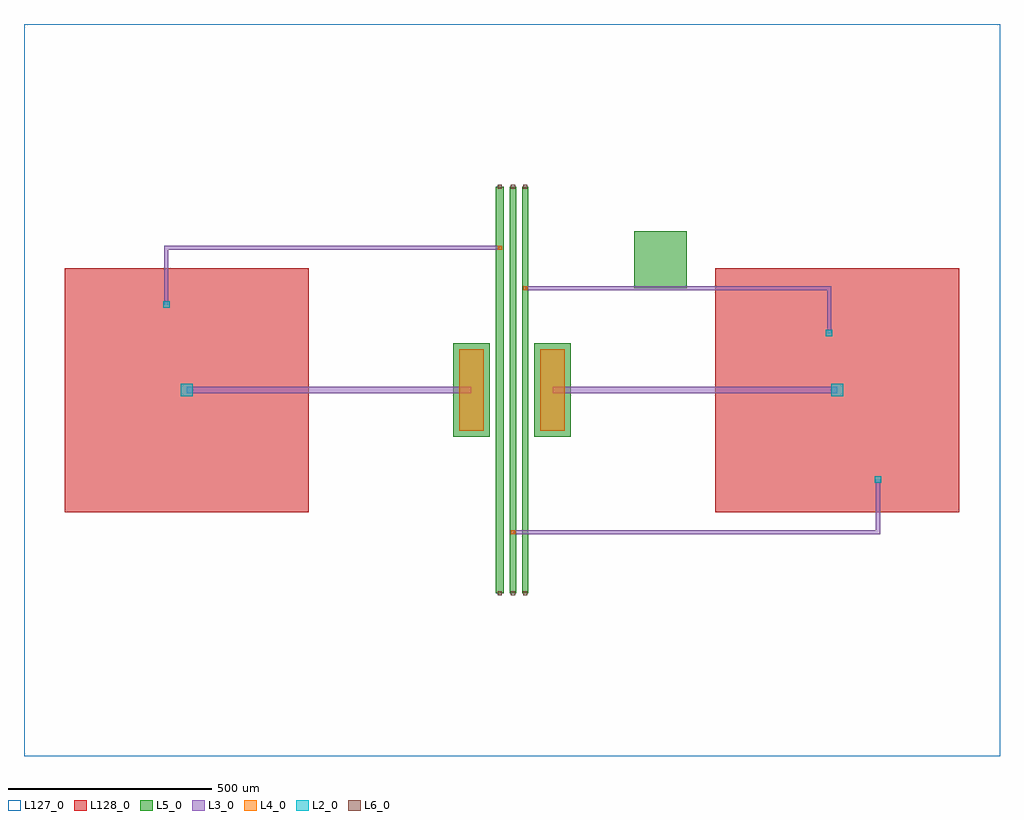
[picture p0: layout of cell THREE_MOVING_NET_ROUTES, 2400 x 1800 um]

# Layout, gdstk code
import gdstk
lib = gdstk.Library(unit=1e-6, precision=1e-09)
def R(c, l, rs):  # rectangles x0, y0, x1, y1
    for r in rs: c.add(gdstk.rectangle(r[:2], r[2:], *l))
L2_0 = (2, 0)
L3_0 = (3, 0)
L4_0 = (4, 0)
L5_0 = (5, 0)
L6_0 = (6, 0)
L127_0 = (127, 0)
L128_0 = (128, 0)

three_moving_net_routes = lib.new_cell('THREE_MOVING_NET_ROUTES')
R(three_moving_net_routes, L2_0, [(892,-228,908,-212), (-815,-15,-785,15), (785,-15,815,15), (772,132,788,148), (-858,202,-842,218)])
R(three_moving_net_routes, L4_0, [(-2.5,-355,7.5,-345), (-130,-100,-70,100), (70,-100,130,100), (27.5,245,37.5,255), (-35,345,-25,355)])
R(three_moving_net_routes, L5_0, [(-40,-500,-20,500), (-5,-500,10,500), (25,-500,40,500), (-145,-115,-55,115), (55,-115,145,115), (300,250,430,390)])
R(three_moving_net_routes, L6_0, [(-35,-505,-25,-495), (-2.5,-505,7.5,-495), (27.5,-505,37.5,-495), (-35,495,-25,505), (-2.5,495,7.5,505), (27.5,495,37.5,505)])
R(three_moving_net_routes, L127_0, [(-1200,-900,1200,900)])
R(three_moving_net_routes, L128_0, [(-1100,-300,-500,300), (500,-300,1100,300)])
three_moving_net_routes.add(gdstk.FlexPath([(-800,0),(-100,0)], 15, ends="flush", simple_path=True, layer=3, datatype=0))  # L3_0
three_moving_net_routes.add(gdstk.FlexPath([(800,0),(100,0)], 15, ends="flush", simple_path=True, layer=3, datatype=0))  # L3_0
three_moving_net_routes.add(gdstk.FlexPath([(-30,350),(-850,350),(-850,210)], 10, ends="flush", simple_path=True, layer=3, datatype=0))  # L3_0
three_moving_net_routes.add(gdstk.FlexPath([(2.5,-350),(900,-350),(900,-220)], 10, ends="flush", simple_path=True, layer=3, datatype=0))  # L3_0
three_moving_net_routes.add(gdstk.FlexPath([(32.5,250),(780,250),(780,140)], 10, ends="flush", simple_path=True, layer=3, datatype=0))  # L3_0

lib.write_gds('THREE_MOVING_NET_ROUTES.gds')
